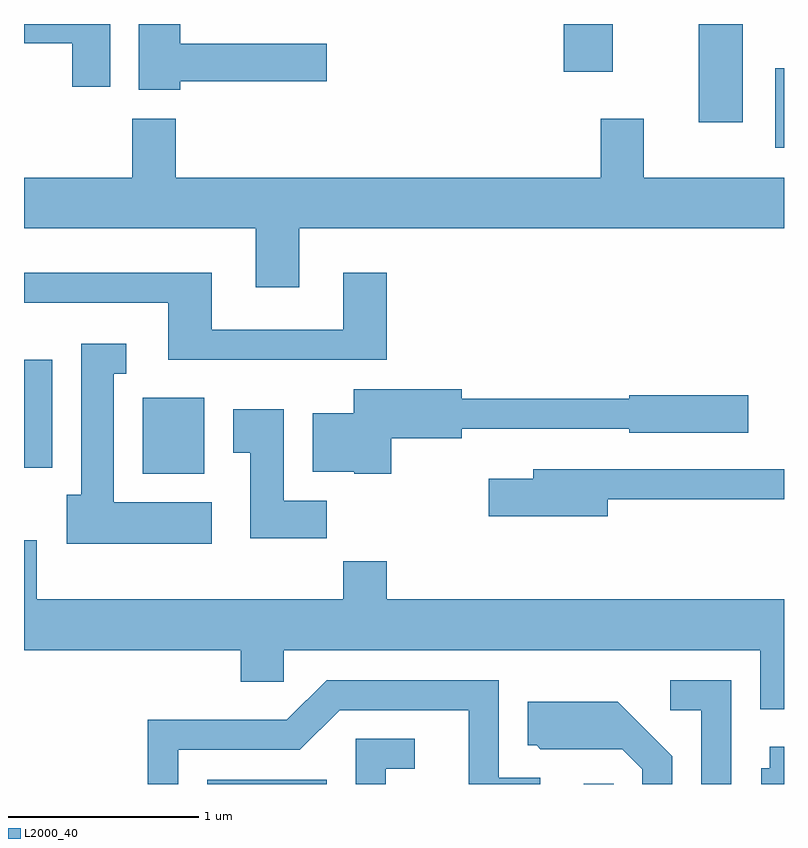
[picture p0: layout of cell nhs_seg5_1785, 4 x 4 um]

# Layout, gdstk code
import gdstk
lib = gdstk.Library(unit=1e-6, precision=1e-09)
def R(c, l, rs):  # rectangles x0, y0, x1, y1
    for r in rs: c.add(gdstk.rectangle(r[:2], r[2:], *l))
def P(c, l, *ps):  # polygons
    for p in ps: c.add(gdstk.Polygon(p, *l))
L2000_40 = (2000, 40)

nhs_seg5_1785 = lib.new_cell('nhs_seg5_1785')
R(nhs_seg5_1785, L2000_40, [(238.576,1476.072,239.204,1476.094), (240.556,1476.072,240.714,1476.073), (238.236,1477.706,238.559,1478.104), (237.611,1477.736,237.759,1478.304), (241.566,1479.421,241.611,1479.839), (241.161,1479.556,241.394,1480.072), (240.451,1479.821,240.709,1480.072)])
P(nhs_seg5_1785, L2000_40, [(238.434,1479.771),(239.204,1479.771),(239.204,1479.969),(238.434,1479.969),(238.434,1480.072),(238.216,1480.072),(238.216,1479.726),(238.434,1479.726)],
  [(238.064,1480.072),(237.611,1480.072),(237.611,1479.971),(237.866,1479.971),(237.866,1479.741),(238.064,1479.741)],
  [(239.059,1478.996),(241.611,1478.996),(241.611,1479.264),(240.874,1479.264),(240.874,1479.574),(240.646,1479.574),(240.646,1479.264),(238.409,1479.264),(238.409,1479.574),(238.181,1479.574),(238.181,1479.264),(237.611,1479.264),(237.611,1478.996),(238.831,1478.996),(238.831,1478.686),(239.059,1478.686)],
  [(239.519,1478.764),(239.291,1478.764),(239.291,1478.464),(238.599,1478.464),(238.599,1478.764),(237.611,1478.764),(237.611,1478.606),(238.371,1478.606),(238.371,1478.306),(239.519,1478.306)],
  [(238.599,1477.554),(238.084,1477.554),(238.084,1478.231),(238.148,1478.231),(238.148,1478.389),(237.911,1478.389),(237.911,1477.594),(237.836,1477.594),(237.836,1477.336),(238.599,1477.336)],
  [(239.544,1477.891),(239.914,1477.891),(239.914,1477.941),(240.796,1477.941),(240.796,1477.921),(241.424,1477.921),(241.424,1478.119),(240.796,1478.119),(240.796,1478.099),(239.914,1478.099),(239.914,1478.149),(239.346,1478.149),(239.346,1478.024),(239.131,1478.024),(239.131,1477.716),(239.35,1477.716),(239.35,1477.706),(239.544,1477.706)],
  [(239.204,1477.564),(238.979,1477.564),(238.979,1478.044),(238.711,1478.044),(238.711,1477.816),(238.801,1477.816),(238.801,1477.366),(239.204,1477.366)],
  [(240.684,1477.571),(241.611,1477.571),(241.611,1477.729),(240.291,1477.729),(240.291,1477.679),(240.056,1477.679),(240.056,1477.481),(240.684,1477.481)],
  [(241.611,1477.044),(239.519,1477.044),(239.519,1477.244),(239.291,1477.244),(239.291,1477.044),(237.679,1477.044),(237.679,1477.354),(237.611,1477.354),(237.611,1476.776),(238.751,1476.776),(238.751,1476.611),(238.979,1476.611),(238.979,1476.776),(241.486,1476.776),(241.486,1476.466),(241.611,1476.466)],
  [(238.424,1476.251),(239.062,1476.251),(239.272,1476.461),(239.951,1476.461),(239.951,1476.072),(240.329,1476.072),(240.329,1476.104),(240.109,1476.104),(240.109,1476.619),(239.204,1476.619),(238.994,1476.409),(238.261,1476.409),(238.261,1476.072),(238.424,1476.072)],
  [(241.334,1476.619),(241.013,1476.619),(241.013,1476.461),(241.176,1476.461),(241.176,1476.072),(241.334,1476.072)],
  [(241.024,1476.217),(240.737,1476.504),(240.261,1476.504),(240.261,1476.276),(240.309,1476.276),(240.329,1476.256),(240.759,1476.256),(240.866,1476.149),(240.866,1476.072),(241.024,1476.072)],
  [(239.514,1476.151),(239.668,1476.151),(239.668,1476.309),(239.356,1476.309),(239.356,1476.072),(239.514,1476.072)],
  [(241.611,1476.269),(241.536,1476.269),(241.536,1476.154),(241.491,1476.154),(241.491,1476.072),(241.611,1476.072)])

lib.write_gds('nhs_seg5_1785.gds')
